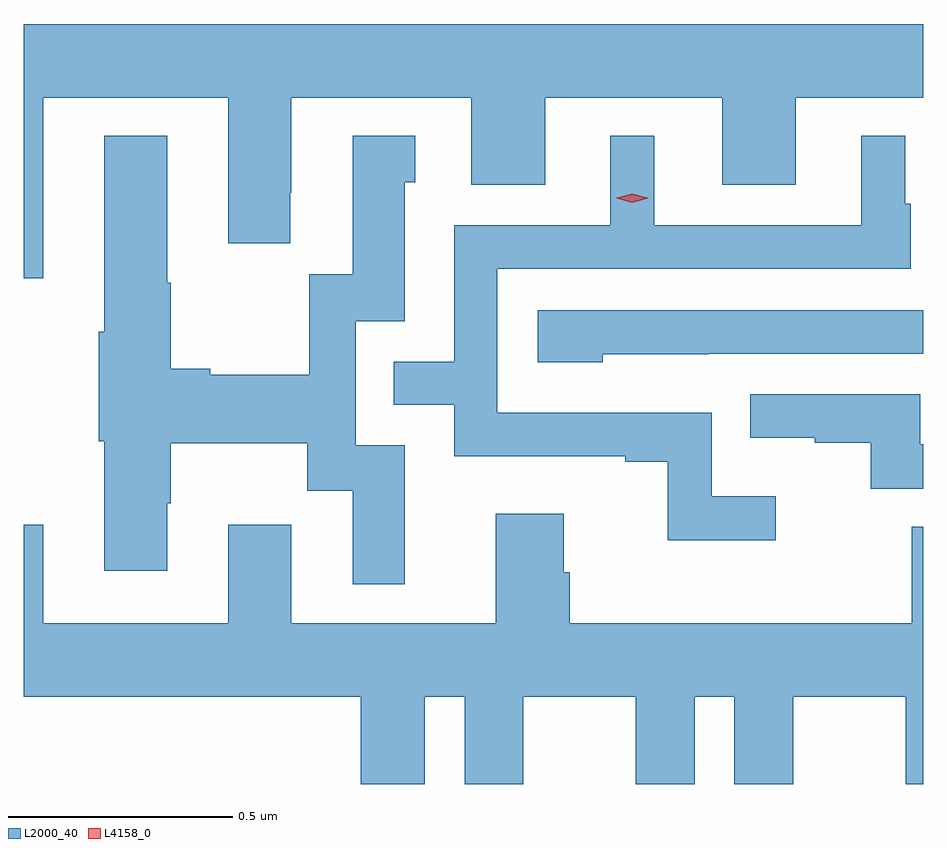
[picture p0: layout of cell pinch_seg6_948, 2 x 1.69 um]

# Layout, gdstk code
import gdstk
lib = gdstk.Library(unit=1e-6, precision=1e-09)
def P(c, l, *ps):  # polygons
    for p in ps: c.add(gdstk.Polygon(p, *l))
L2000_40 = (2000, 40)
L4158_0 = (4158, 0)

pinch_seg6_948 = lib.new_cell('pinch_seg6_948')
P(pinch_seg6_948, L2000_40, [(181.501,946.004),(181.913,946.004),(181.913,945.681),(182.05,945.681),(182.05,945.793),(182.053,945.793),(182.053,946.004),(182.453,946.004),(182.453,945.81),(182.617,945.81),(182.617,946.004),(183.011,946.004),(183.011,945.81),(183.175,945.81),(183.175,946.004),(183.458,946.004),(183.458,946.168),(181.458,946.168),(181.458,945.603),(181.501,945.603)],
  [(182.305,945.231),(182.196,945.231),(182.196,945.507),(182.305,945.507),(182.305,945.816),(182.329,945.816),(182.329,945.919),(182.189,945.919),(182.189,945.612),(182.093,945.612),(182.093,945.388),(181.873,945.388),(181.873,945.401),(181.785,945.401),(181.785,945.593),(181.777,945.593),(181.777,945.919),(181.637,945.919),(181.637,945.484),(181.625,945.484),(181.625,945.24),(181.637,945.24),(181.637,944.952),(181.777,944.952),(181.777,945.102),(181.785,945.102),(181.785,945.236),(182.088,945.236),(182.088,945.13),(182.189,945.13),(182.189,944.922),(182.305,944.922)],
  [(183.13,945.118),(182.988,945.118),(182.988,945.303),(182.511,945.303),(182.511,945.624),(183.43,945.624),(183.43,945.768),(183.418,945.768),(183.418,945.919),(183.32,945.919),(183.32,945.72),(182.86,945.72),(182.86,945.919),(182.762,945.919),(182.762,945.72),(182.415,945.72),(182.415,945.417),(182.281,945.417),(182.281,945.321),(182.415,945.321),(182.415,945.207),(182.795,945.207),(182.795,945.195),(182.89,945.195),(182.89,945.02),(183.13,945.02)],
  [(182.745,945.434),(182.981,945.434),(182.981,945.435),(183.458,945.435),(183.458,945.531),(182.601,945.531),(182.601,945.416),(182.745,945.416)],
  [(183.458,945.233),(183.451,945.233),(183.451,945.345),(183.073,945.345),(183.073,945.248),(183.217,945.248),(183.217,945.237),(183.341,945.237),(183.341,945.135),(183.458,945.135)],
  [(182.35,944.672),(182.438,944.672),(182.438,944.478),(182.569,944.478),(182.569,944.672),(182.819,944.672),(182.819,944.478),(182.95,944.478),(182.95,944.672),(183.038,944.672),(183.038,944.478),(183.169,944.478),(183.169,944.672),(183.419,944.672),(183.419,944.478),(183.458,944.478),(183.458,945.05),(183.432,945.05),(183.432,944.836),(182.672,944.836),(182.672,944.949),(182.659,944.949),(182.659,945.079),(182.507,945.079),(182.507,944.836),(182.053,944.836),(182.053,945.055),(181.913,945.055),(181.913,944.836),(181.501,944.836),(181.501,945.055),(181.458,945.055),(181.458,944.672),(182.207,944.672),(182.207,944.478),(182.35,944.478)])
P(pinch_seg6_948, L4158_0, [(182.811,945.771),(182.776,945.781),(182.775,945.781),(182.776,945.782),(182.811,945.791),(182.846,945.782),(182.847,945.781),(182.846,945.781)])

lib.write_gds('pinch_seg6_948.gds')
